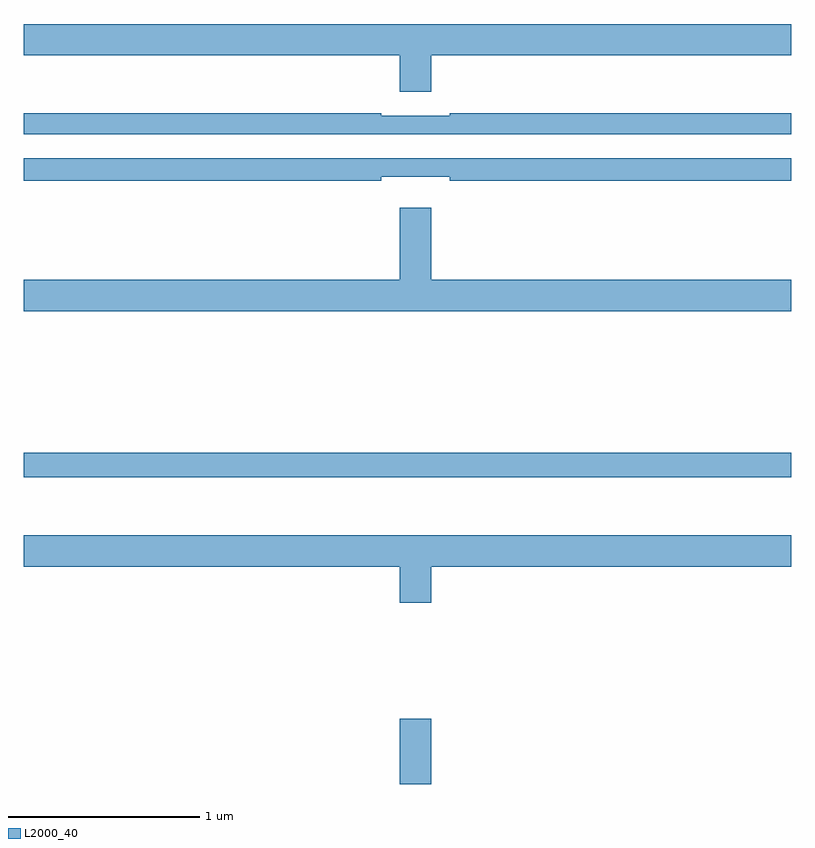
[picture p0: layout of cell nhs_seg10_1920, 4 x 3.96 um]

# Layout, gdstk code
import gdstk
lib = gdstk.Library(unit=1e-6, precision=1e-09)
def R(c, l, rs):  # rectangles x0, y0, x1, y1
    for r in rs: c.add(gdstk.rectangle(r[:2], r[2:], *l))
def P(c, l, *ps):  # polygons
    for p in ps: c.add(gdstk.Polygon(p, *l))
L2000_40 = (2000, 40)

nhs_seg10_1920 = lib.new_cell('nhs_seg10_1920')
R(nhs_seg10_1920, L2000_40, [(212.96,1316.5,213.124,1316.839), (211,1318.098,215,1318.226)])
P(nhs_seg10_1920, L2000_40, [(213.124,1320.296),(215,1320.296),(215,1320.46),(211,1320.46),(211,1320.296),(212.96,1320.296),(212.96,1320.108),(213.124,1320.108)],
  [(215,1319.995),(213.22,1319.995),(213.22,1319.982),(212.864,1319.982),(212.864,1319.995),(211,1319.995),(211,1319.886),(215,1319.886)],
  [(212.864,1319.663),(213.22,1319.663),(213.22,1319.644),(215,1319.644),(215,1319.76),(211,1319.76),(211,1319.644),(212.864,1319.644)],
  [(215,1319.128),(213.124,1319.128),(213.124,1319.503),(212.96,1319.503),(212.96,1319.128),(211,1319.128),(211,1318.964),(215,1318.964)],
  [(213.124,1317.632),(215,1317.632),(215,1317.796),(211,1317.796),(211,1317.632),(212.96,1317.632),(212.96,1317.444),(213.124,1317.444)])

lib.write_gds('nhs_seg10_1920.gds')
